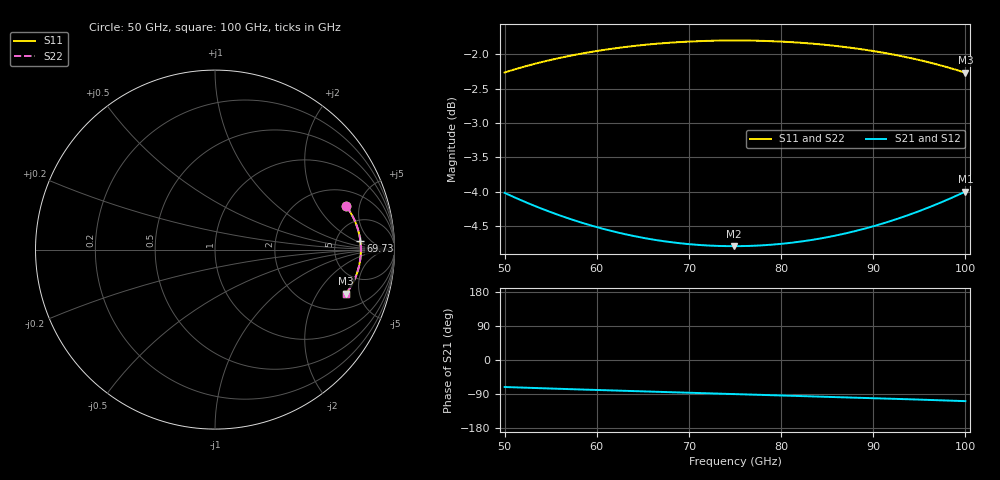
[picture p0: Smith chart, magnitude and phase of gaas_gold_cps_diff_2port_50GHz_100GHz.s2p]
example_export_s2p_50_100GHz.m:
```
% Export differential 2-port S-parameters (.s2p) using txlineRLCGLine.
% Frequency range: 50 GHz .. 100 GHz (logspace).
% Assumptions:
%   - Cpul and Lpul constant with frequency
%   - Gpul = 0
%   - Rpul(f) from skin-depth model
%   - Port reference impedance Z0 = 100 Ohm (differential)

clear; clc;

% Geometry [m]
s = 20e-6;
t_au = 1e-6;
inner_gap = 50e-6;
g = inner_gap / 2;
h = 1e-6;
lineLength = 1e-3; % [m]

% Materials
eps_r_gaas = 12.9;
sigma_au = 4.10e7; % [S/m]

% Frequency sweep
fmin = 50e9;
fmax = 100e9;
Nfreq = 10000;
freq = logspace(log10(fmin), log10(fmax), Nfreq);

% Make root routines visible
this_file = mfilename('fullpath');
this_dir = fileparts(this_file);
repo_root = fileparts(fileparts(this_dir));
addpath(repo_root);

% Quasi-static C and L (constant over frequency)
qs = cps_single_layer_params(s, g, h, eps_r_gaas);
Cpul = qs.C_F_per_m;
Lpul = qs.Z_Ohm^2 * Cpul;

% Frequency-dependent differential Rpul (1xN)
rac = cps_rpul_matrix_skin(freq, s, t_au, sigma_au);
Rpul = rac.Rpul_Ohm_per_m;

% Export Touchstone
outfile = fullfile(this_dir, 'gaas_gold_cps_diff_2port_50GHz_100GHz.s2p');
out = cps_export_s2p_txlineRLCGLine(outfile, fmin, fmax, Nfreq, lineLength, Cpul, Lpul, Rpul, 0);

% Plot
S = out.S2;
S11_dB = 20 * log10(abs(squeeze(S(1, 1, :))));
S21_dB = 20 * log10(abs(squeeze(S(2, 1, :))));

fig = figure('Visible', 'off');
semilogx(freq, S11_dB, 'LineWidth', 1.3); hold on;
semilogx(freq, S21_dB, 'LineWidth', 1.3);
grid on;
xlabel('Frequency [Hz]');
ylabel('Magnitude [dB]');
title('Differential CPS S-parameters (50 GHz .. 100 GHz, Z0 = 100 Ohm)');
legend('|S11|', '|S21|', 'Location', 'best');

plotfile = fullfile(this_dir, 'gaas_gold_cps_diff_2port_50GHz_100GHz_plot.png');
exportgraphics(fig, plotfile, 'Resolution', 180);
close(fig);

fprintf('Touchstone file written:\n%s\n', out.filename);
fprintf('Plot written:\n%s\n', plotfile);
fprintf('f-range: %.3f GHz .. %.3f GHz, N=%d\n', fmin/1e9, fmax/1e9, Nfreq);
fprintf('Z0 normalization: 100 Ohm\n');
```
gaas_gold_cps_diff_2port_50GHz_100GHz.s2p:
# Hz S RI R 100
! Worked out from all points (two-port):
!   10000 points, 50 GHz to 100 GHz, reference 100 ohm
!   highest |S21| = -4.00 dB at 100 GHz (marker M1); lowest = -4.8 dB at 74.84 GHz (marker M2)
!   |S21| within 3 dB of the highest: start of sweep to end of sweep
!   lowest |S11| = -2.3 dB at 100 GHz (marker M3), VSWR 7.70, Z = 306 - j369 ohm
!   |S11| at or under -10 dB: nowhere
!   |S22| runs from -2.3 to -1.8 dB; largest |S21 - S12| = 3.5e-16
!   S11 on the Smith chart (normalised r, x): 50 GHz: 3.14, +3.71; 69.73 GHz: 8.85, +2.55; 100 GHz: 3.06, -3.69
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5e10  0.732 0.2404  0.2021 -0.5963  0.2021 -0.5963  0.732 0.2404
5.47721e10  0.7616 0.195  0.1565 -0.5901  0.1565 -0.5901  0.7616 0.195
5.955627e10  0.7838 0.1487  0.1156 -0.5844  0.1156 -0.5844  0.7838 0.1487
6.457452e10  0.8 0.0997  0.0764 -0.5797  0.0764 -0.5797  0.8 0.0997
6.973467e10  0.8097 0.0492  0.0385 -0.5767  0.0385 -0.5767  0.8097 0.0492
7.483879e10  0.8129 -0.000856  0.00237 -0.5758  0.00237 -0.5758  0.8129 -0.000856
7.500499e10  0.8129 -0.00249  0.0012 -0.5758  0.0012 -0.5758  0.8129 -0.00249
8.154513e10  0.8075 -0.0666  -0.0454 -0.5778  -0.0454 -0.5778  0.8075 -0.0666
8.79333e10  0.7919 -0.1292  -0.0934 -0.5829  -0.0934 -0.5829  0.7919 -0.1292
9.396472e10  0.7668 -0.1878  -0.1436 -0.5899  -0.1436 -0.5899  0.7668 -0.1878
1e11  0.73 -0.2453  -0.201 -0.5981  -0.201 -0.5981  0.73 -0.2453
